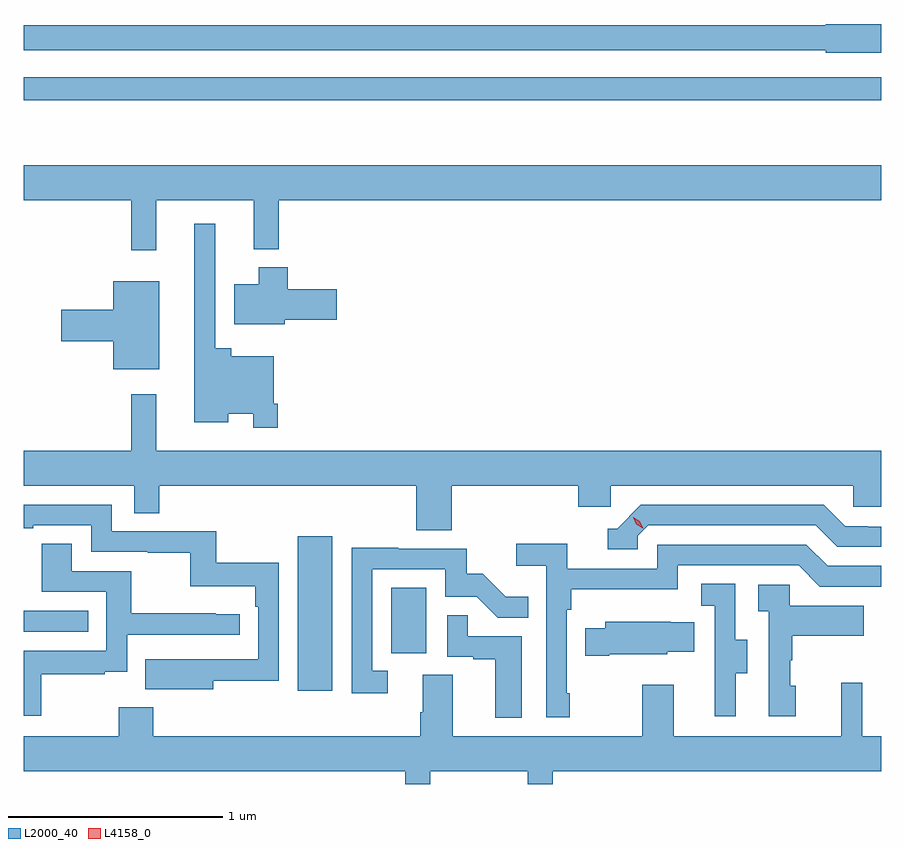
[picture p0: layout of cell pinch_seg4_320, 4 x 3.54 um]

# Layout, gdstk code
import gdstk
lib = gdstk.Library(unit=1e-6, precision=1e-09)
def R(c, l, rs):  # rectangles x0, y0, x1, y1
    for r in rs: c.add(gdstk.rectangle(r[:2], r[2:], *l))
def P(c, l, *ps):  # polygons
    for p in ps: c.add(gdstk.Polygon(p, *l))
L2000_40 = (2000, 40)
L4158_0 = (4158, 0)

pinch_seg4_320 = lib.new_cell('pinch_seg4_320')
R(pinch_seg4_320, L2000_40, [(911.027,801.192,911.188,801.913), (911.462,801.366,911.626,801.673), (909.748,801.468,910.049,801.564), (909.748,803.946,913.748,804.054)])
P(pinch_seg4_320, L2000_40, [(913.748,804.302),(913.488,804.302),(913.488,804.296),(909.748,804.296),(909.748,804.18),(913.488,804.18),(913.488,804.167),(913.748,804.167)],
  [(910.367,803.48),(910.82,803.48),(910.82,803.252),(910.937,803.252),(910.937,803.48),(913.748,803.48),(913.748,803.644),(909.748,803.644),(909.748,803.48),(910.249,803.48),(910.249,803.247),(910.367,803.247)],
  [(910.934,802.531),(910.914,802.531),(910.914,802.753),(910.715,802.753),(910.715,802.789),(910.641,802.789),(910.641,803.371),(910.544,803.371),(910.544,802.445),(910.702,802.445),(910.702,802.484),(910.818,802.484),(910.818,802.419),(910.934,802.419)],
  [(910.966,802.922),(911.209,802.922),(911.209,803.064),(910.979,803.064),(910.979,803.167),(910.844,803.167),(910.844,803.089),(910.73,803.089),(910.73,802.901),(910.966,802.901)],
  [(910.381,803.101),(910.166,803.101),(910.166,802.97),(909.924,802.97),(909.924,802.823),(910.166,802.823),(910.166,802.691),(910.381,802.691)],
  [(910.249,802.576),(910.249,802.312),(909.748,802.312),(909.748,802.148),(910.263,802.148),(910.263,802.021),(910.379,802.021),(910.379,802.148),(911.579,802.148),(911.579,801.94),(911.744,801.94),(911.744,802.148),(912.335,802.148),(912.335,802.05),(912.486,802.05),(912.486,802.148),(913.617,802.148),(913.617,802.05),(913.748,802.05),(913.748,802.312),(910.366,802.312),(910.366,802.576)],
  [(910.633,801.238),(910.938,801.238),(910.938,801.79),(910.645,801.79),(910.645,801.936),(910.158,801.936),(910.158,802.059),(909.748,802.059),(909.748,801.951),(909.793,801.951),(909.793,801.963),(910.062,801.963),(910.062,801.84),(910.327,801.84),(910.327,801.835),(910.524,801.835),(910.524,801.68),(910.829,801.68),(910.829,801.584),(910.842,801.584),(910.842,801.339),(910.529,801.339),(910.529,801.34),(910.315,801.34),(910.315,801.2),(910.633,801.2)],
  [(912.612,801.915),(912.66,801.963),(913.443,801.963),(913.542,801.864),(913.748,801.864),(913.748,801.957),(913.686,801.957),(913.686,801.96),(913.579,801.96),(913.48,802.059),(912.627,802.059),(912.516,801.948),(912.473,801.948),(912.473,801.852),(912.612,801.852)],
  [(912.295,801.181),(912.282,801.181),(912.282,801.569),(912.302,801.569),(912.302,801.665),(912.798,801.665),(912.798,801.777),(913.362,801.777),(913.461,801.678),(913.748,801.678),(913.748,801.774),(913.498,801.774),(913.399,801.873),(912.702,801.873),(912.702,801.762),(912.284,801.762),(912.284,801.878),(912.045,801.878),(912.045,801.776),(912.186,801.776),(912.186,801.069),(912.295,801.069)],
  [(909.829,801.27),(910.127,801.27),(910.127,801.281),(910.23,801.281),(910.23,801.453),(910.756,801.453),(910.756,801.549),(910.643,801.549),(910.643,801.554),(910.25,801.554),(910.25,801.75),(909.973,801.75),(909.973,801.878),(909.833,801.878),(909.833,801.654),(910.134,801.654),(910.134,801.378),(909.748,801.378),(909.748,801.075),(909.829,801.075)],
  [(911.446,801.285),(911.373,801.285),(911.373,801.759),(911.715,801.759),(911.715,801.63),(911.86,801.63),(911.958,801.532),(912.101,801.532),(912.101,801.631),(911.997,801.631),(911.89,801.738),(911.814,801.738),(911.814,801.855),(911.495,801.855),(911.495,801.86),(911.277,801.86),(911.277,801.18),(911.446,801.18)],
  [(913.069,801.274),(913.123,801.274),(913.123,801.429),(913.068,801.429),(913.068,801.692),(912.909,801.692),(912.909,801.589),(912.972,801.589),(912.972,801.285),(912.971,801.285),(912.971,801.072),(913.069,801.072)],
  [(913.348,801.216),(913.323,801.216),(913.323,801.335),(913.333,801.335),(913.333,801.449),(913.667,801.449),(913.667,801.589),(913.32,801.589),(913.32,801.687),(913.173,801.687),(913.173,801.563),(913.224,801.563),(913.224,801.072),(913.348,801.072)],
  [(912.07,801.447),(911.819,801.447),(911.819,801.545),(911.724,801.545),(911.724,801.351),(911.845,801.351),(911.845,801.339),(911.948,801.339),(911.948,801.065),(912.07,801.065)],
  [(912.478,801.362),(912.75,801.362),(912.75,801.374),(912.875,801.374),(912.875,801.511),(912.767,801.511),(912.767,801.514),(912.461,801.514),(912.461,801.484),(912.367,801.484),(912.367,801.355),(912.478,801.355)],
  [(911.645,800.816),(912.098,800.816),(912.098,800.757),(912.215,800.757),(912.215,800.816),(913.748,800.816),(913.748,800.98),(913.659,800.98),(913.659,801.229),(913.562,801.229),(913.562,800.98),(912.781,800.98),(912.781,801.22),(912.634,801.22),(912.634,800.98),(911.749,800.98),(911.749,801.266),(911.609,801.266),(911.609,801.092),(911.597,801.092),(911.597,800.98),(910.352,800.98),(910.352,801.115),(910.192,801.115),(910.192,800.98),(909.748,800.98),(909.748,800.816),(911.527,800.816),(911.527,800.757),(911.645,800.757)])
P(pinch_seg4_320, L4158_0, [(912.636,801.95),(912.606,801.969),(912.59,802.002),(912.59,802.002),(912.59,802.002),(912.621,801.982),(912.637,801.95),(912.637,801.95)])

lib.write_gds('pinch_seg4_320.gds')
